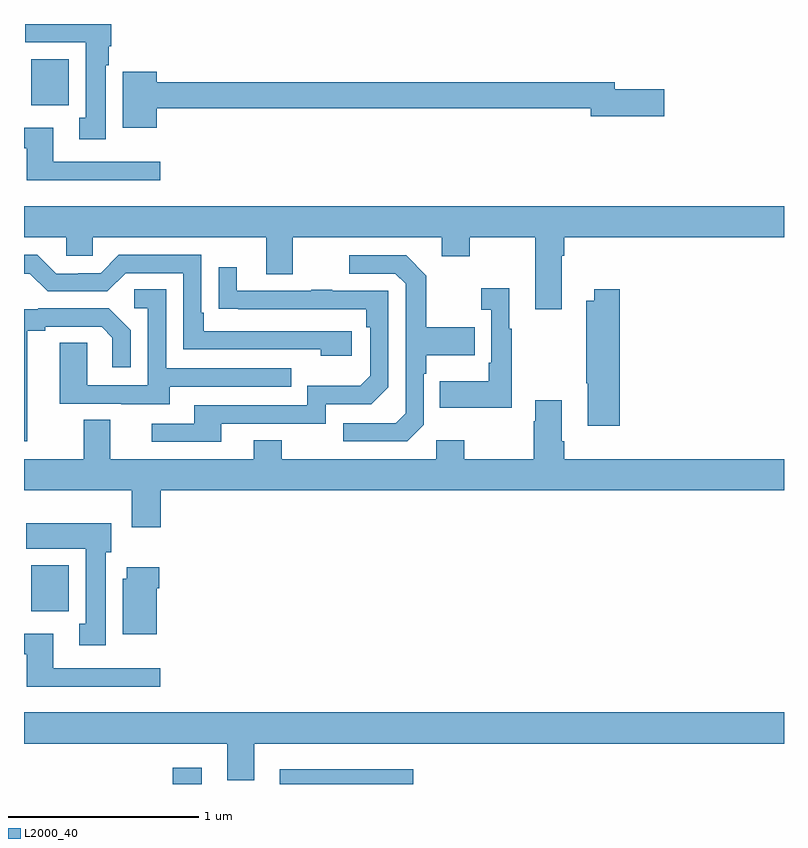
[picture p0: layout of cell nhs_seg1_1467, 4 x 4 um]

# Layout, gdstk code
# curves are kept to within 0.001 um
import gdstk
lib = gdstk.Library(unit=1e-6, precision=1e-09)
def R(c, l, rs):  # rectangles x0, y0, x1, y1
    for r in rs: c.add(gdstk.rectangle(r[:2], r[2:], *l))
def P(c, l, *ps):  # polygons
    for p in ps: c.add(gdstk.Polygon(p, *l))
L2000_40 = (2000, 40)

nhs_seg1_1467 = lib.new_cell('nhs_seg1_1467')
R(nhs_seg1_1467, L2000_40, [(191.783,538.199,191.935,538.285), (192.347,538.199,193.048,538.276), (191.039,539.108,191.236,539.35), (191.039,541.772,191.236,542.014)])
P(nhs_seg1_1467, L2000_40, [(191.431,541.982),(191.446,541.982),(191.446,542.082),(191.458,542.082),(191.458,542.199),(191.007,542.199),(191.007,542.102),(191.324,542.102),(191.324,541.706),(191.291,541.706),(191.291,541.593),(191.431,541.593)],
  [(191.698,541.756),(193.982,541.756),(193.982,541.714),(194.371,541.714),(194.371,541.856),(194.11,541.856),(194.11,541.892),(191.698,541.892),(191.698,541.948),(191.519,541.948),(191.519,541.652),(191.698,541.652)],
  [(191.716,541.473),(191.155,541.473),(191.155,541.654),(191,541.654),(191,541.545),(191.015,541.545),(191.015,541.376),(191.716,541.376)],
  [(193.831,540.98),(193.844,540.98),(193.844,541.076),(195,541.076),(195,541.24),(191,541.24),(191,541.076),(191.223,541.076),(191.223,540.978),(191.361,540.978),(191.361,541.076),(192.275,541.076),(192.275,540.882),(192.415,540.882),(192.415,541.076),(193.199,541.076),(193.199,540.977),(193.347,540.977),(193.347,541.076),(193.691,541.076),(193.691,540.699),(193.831,540.699)],
  [(192.724,540.582),(191.947,540.582),(191.947,540.679),(191.934,540.679),(191.934,540.984),(191.499,540.984),(191.403,540.888),(191.285,540.888),(191.285,540.885),(191.169,540.885),(191.069,540.985),(191,540.985),(191,540.885),(191.031,540.885),(191.124,540.792),(191.439,540.792),(191.535,540.888),(191.838,540.888),(191.838,540.486),(192.563,540.486),(192.563,540.452),(192.724,540.452)],
  [(193.104,540.09),(193.104,540.359),(193.117,540.359),(193.117,540.455),(193.373,540.455),(193.373,540.603),(193.117,540.603),(193.117,540.875),(193.011,540.981),(192.711,540.981),(192.711,540.885),(192.954,540.885),(193.008,540.831),(193.008,540.15),(192.957,540.099),(192.681,540.099),(192.681,540.003),(193.017,540.003)],
  [(192.037,540.096),(192.588,540.096),(192.588,540.198),(192.828,540.198),(192.918,540.288),(192.918,540.795),(192.623,540.795),(192.623,540.8),(192.511,540.8),(192.511,540.795),(192.121,540.795),(192.121,540.919),(192.025,540.919),(192.025,540.7),(192.802,540.699),(192.802,540.602),(192.822,540.602),(192.822,540.348),(192.769,540.295),(192.492,540.295),(192.492,540.192),(191.897,540.192),(191.897,540.096),(191.673,540.096),(191.673,540),(192.037,540)],
  [(193.567,540.595),(193.555,540.595),(193.555,540.808),(193.407,540.808),(193.407,540.695),(193.458,540.695),(193.458,540.415),(193.446,540.415),(193.446,540.319),(193.189,540.319),(193.189,540.179),(193.567,540.179)],
  [(191.767,540.291),(192.407,540.291),(192.407,540.387),(191.748,540.387),(191.748,540.803),(191.58,540.803),(191.58,540.702),(191.652,540.702),(191.652,540.297),(191.334,540.297),(191.334,540.521),(191.189,540.521),(191.189,540.201),(191.513,540.201),(191.513,540.197),(191.767,540.197)],
  [(194.135,540.802),(194,540.802),(194,540.742),(193.96,540.742),(193.96,540.307),(193.967,540.307),(193.967,540.084),(194.135,540.084)],
  [(191.017,540.584),(191.113,540.584),(191.113,540.606),(191.408,540.606),(191.465,540.549),(191.465,540.393),(191.562,540.393),(191.562,540.586),(191.446,540.702),(191.074,540.702),(191.074,540.699),(191,540.699),(191,540.003),(191.017,540.003)],
  [(191.72,539.744),(195,539.744),(195,539.908),(193.844,539.908),(193.844,540.004),(193.831,540.004),(193.831,540.22),(193.691,540.22),(193.691,540.107),(193.684,540.107),(193.684,539.908),(193.317,539.908),(193.317,540.007),(193.17,540.007),(193.17,539.908),(192.357,539.908),(192.357,540.007),(192.209,540.007),(192.209,539.908),(191.455,539.908),(191.455,540.116),(191.315,540.116),(191.315,539.908),(191,539.908),(191,539.744),(191.567,539.744),(191.567,539.55),(191.72,539.55)],
  [(191.431,539.418),(191.458,539.418),(191.458,539.572),(191.012,539.572),(191.012,539.438),(191.324,539.438),(191.324,539.042),(191.291,539.042),(191.291,538.929),(191.431,538.929)],
  [(191.698,539.228),(191.711,539.228),(191.711,539.341),(191.54,539.341),(191.54,539.28),(191.519,539.28),(191.519,538.988),(191.698,538.988)],
  [(191.716,538.809),(191.155,538.809),(191.155,538.99),(191,538.99),(191,538.881),(191.015,538.881),(191.015,538.712),(191.716,538.712)],
  [(192.211,538.412),(195,538.412),(195,538.576),(191,538.576),(191,538.412),(192.071,538.412),(192.071,538.218),(192.211,538.218)])

lib.write_gds('nhs_seg1_1467.gds')
